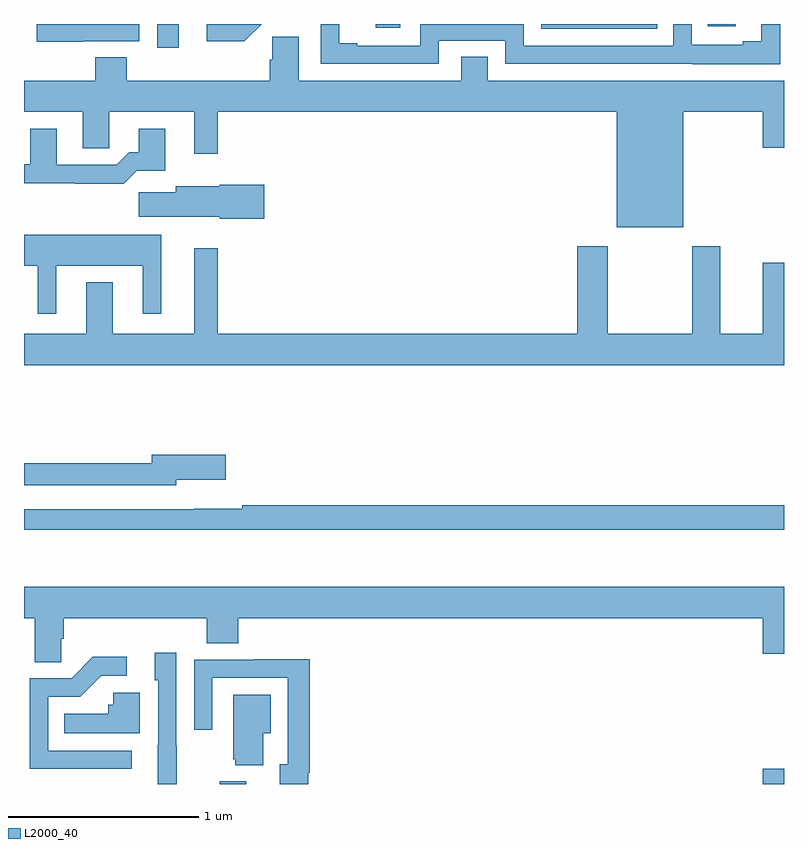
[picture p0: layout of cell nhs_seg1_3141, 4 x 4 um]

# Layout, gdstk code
import gdstk
lib = gdstk.Library(unit=1e-6, precision=1e-09)
def R(c, l, rs):  # rectangles x0, y0, x1, y1
    for r in rs: c.add(gdstk.rectangle(r[:2], r[2:], *l))
def P(c, l, *ps):  # polygons
    for p in ps: c.add(gdstk.Polygon(p, *l))
L2000_40 = (2000, 40)

nhs_seg1_3141 = lib.new_cell('nhs_seg1_3141')
R(nhs_seg1_3141, L2000_40, [(282.029,544.199,282.169,544.213), (284.888,544.199,285,544.279), (281.7,548.073,281.815,548.199), (283.722,548.174,284.333,548.199), (282.851,548.178,282.979,548.199), (284.599,548.187,284.746,548.199)])
P(nhs_seg1_3141, L2000_40, [(284.979,548.199),(284.879,548.199),(284.879,548.107),(284.783,548.107),(284.783,548.089),(284.514,548.089),(284.514,548.199),(284.418,548.199),(284.418,548.085),(283.629,548.085),(283.629,548.199),(283.086,548.199),(283.086,548.085),(282.754,548.085),(282.754,548.098),(282.659,548.098),(282.659,548.199),(282.561,548.199),(282.561,547.989),(283.182,547.989),(283.182,548.112),(283.533,548.112),(283.533,547.989),(284.521,547.989),(284.521,547.988),(284.979,547.988)],
  [(282.252,548.199),(281.961,548.199),(281.961,548.108),(282.16,548.108)],
  [(281.311,548.109),(281.607,548.109),(281.607,548.199),(281.067,548.199),(281.067,548.105),(281.311,548.105)],
  [(284.47,547.736),(284.888,547.736),(284.888,547.548),(285,547.548),(285,547.9),(283.441,547.9),(283.441,548.027),(283.301,548.027),(283.301,547.9),(282.445,547.9),(282.445,548.132),(282.307,548.132),(282.307,548.012),(282.293,548.012),(282.293,547.9),(281.54,547.9),(281.54,548.024),(281.375,548.024),(281.375,547.9),(281,547.9),(281,547.736),(281.309,547.736),(281.309,547.546),(281.448,547.546),(281.448,547.736),(281.897,547.736),(281.897,547.515),(282.019,547.515),(282.019,547.736),(284.12,547.736),(284.12,547.13),(284.47,547.13)],
  [(281.594,547.427),(281.743,547.427),(281.743,547.648),(281.603,547.648),(281.603,547.525),(281.554,547.525),(281.487,547.458),(281.173,547.458),(281.173,547.648),(281.033,547.648),(281.033,547.461),(281,547.461),(281,547.36),(281.269,547.36),(281.269,547.358),(281.525,547.358)],
  [(282.265,547.353),(282.03,547.353),(282.03,547.345),(281.798,547.345),(281.798,547.313),(281.604,547.313),(281.604,547.184),(282.03,547.184),(282.03,547.175),(282.265,547.175)],
  [(281.17,546.926),(281.624,546.926),(281.624,546.675),(281.722,546.675),(281.722,547.09),(281,547.09),(281,546.926),(281.072,546.926),(281.072,546.675),(281.17,546.675)],
  [(285,546.943),(284.888,546.943),(284.888,546.568),(284.665,546.568),(284.665,547.03),(284.518,547.03),(284.518,546.568),(284.073,546.568),(284.073,547.03),(283.913,547.03),(283.913,546.568),(282.019,546.568),(282.019,547.018),(281.897,547.018),(281.897,546.568),(281.467,546.568),(281.467,546.841),(281.327,546.841),(281.327,546.568),(281,546.568),(281,546.404),(285,546.404)],
  [(281.8,545.801),(282.061,545.801),(282.061,545.931),(281.672,545.931),(281.672,545.888),(281,545.888),(281,545.772),(281.8,545.772)],
  [(285,545.666),(282.148,545.666),(282.148,545.647),(281.896,545.647),(281.896,545.646),(281,545.646),(281,545.538),(285,545.538)],
  [(281.196,544.963),(281.21,544.963),(281.21,545.072),(281.963,545.072),(281.963,544.939),(282.128,544.939),(282.128,545.072),(284.888,545.072),(284.888,544.884),(285,544.884),(285,545.236),(281,545.236),(281,545.072),(281.057,545.072),(281.057,544.84),(281.196,544.84)],
  [(281.805,544.397),(281.802,544.397),(281.802,544.891),(281.687,544.891),(281.687,544.746),(281.706,544.746),(281.706,544.403),(281.705,544.403),(281.705,544.199),(281.805,544.199)],
  [(281.566,544.374),(281.127,544.374),(281.127,544.659),(281.296,544.659),(281.407,544.77),(281.542,544.77),(281.542,544.868),(281.363,544.868),(281.25,544.755),(281.031,544.755),(281.031,544.278),(281.566,544.278)],
  [(282.496,544.258),(282.503,544.258),(282.503,544.856),(282.211,544.856),(282.211,544.854),(281.895,544.854),(281.895,544.485),(281.991,544.485),(281.991,544.758),(282.387,544.758),(282.387,544.302),(282.347,544.302),(282.347,544.199),(282.496,544.199)],
  [(281.608,544.678),(281.469,544.678),(281.469,544.617),(281.443,544.617),(281.443,544.57),(281.212,544.57),(281.212,544.466),(281.608,544.466)],
  [(282.259,544.466),(282.298,544.466),(282.298,544.669),(282.101,544.669),(282.101,544.329),(282.113,544.329),(282.113,544.298),(282.259,544.298)])

lib.write_gds('nhs_seg1_3141.gds')
